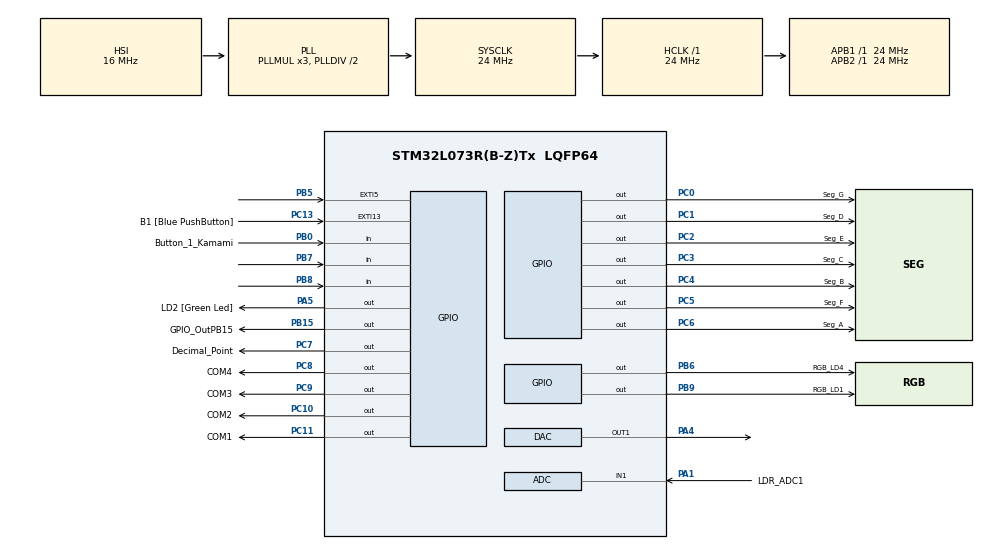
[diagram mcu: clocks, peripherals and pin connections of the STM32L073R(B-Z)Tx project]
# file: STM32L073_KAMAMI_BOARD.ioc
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Mcu.Family=STM32L0
Mcu.Name=STM32L073R(B-Z)Tx
Mcu.Package=LQFP64
NVIC.EXTI4_15_IRQn=true\:0\:0\:false\:false\:true\:true\:true\:true
NVIC.TIM2_IRQn=true\:0\:0\:false\:false\:true\:true\:true\:true
PA1.GPIO_Label=LDR_ADC1
PA1.Mode=IN1
PA1.Signal=ADC_IN1
PA13.GPIO_Label=TMS
PA13.Mode=Serial_Wire
PA13.Signal=SYS_SWDIO
PA14.GPIO_Label=TCK
PA14.Mode=Serial_Wire
PA14.Signal=SYS_SWCLK
PA4.Signal=COMP_DAC1_group
PA5.GPIO_Label=LD2 [Green Led]
PA5.Signal=GPIO_Output
PB0.GPIO_Label=Button_1_Kamami
PB0.GPIO_PuPd=GPIO_PULLUP
PB0.Signal=GPIO_Input
PB15.GPIO_Label=GPIO_OutPB15
PB15.Signal=GPIO_Output
PB5.GPIO_PuPd=GPIO_PULLUP
PB5.Signal=GPXTI5
PB6.GPIO_Label=RGB_LD4
PB6.Signal=GPIO_Output
PB7.Signal=GPIO_Input
PB8.Signal=GPIO_Input
PB9.GPIO_Label=RGB_LD1
PB9.Signal=GPIO_Output
PC0.GPIO_Label=Seg_G
PC0.Signal=GPIO_Output
PC1.GPIO_Label=Seg_D
PC1.Signal=GPIO_Output
PC10.GPIO_Label=COM2
PC10.Signal=GPIO_Output
PC11.GPIO_Label=COM1
PC11.Signal=GPIO_Output
PC13.GPIO_Label=B1 [Blue PushButton]
PC13.GPIO_ModeDefaultEXTI=GPIO_MODE_IT_FALLING
PC13.Signal=GPXTI13
PC14-OSC32_IN.Mode=LSE-External-Oscillator
PC14-OSC32_IN.Signal=RCC_OSC32_IN
PC15-OSC32_OUT.Mode=LSE-External-Oscillator
PC15-OSC32_OUT.Signal=RCC_OSC32_OUT
PC2.GPIO_Label=Seg_E
PC2.Signal=GPIO_Output
PC3.GPIO_Label=Seg_C
PC3.Signal=GPIO_Output
PC4.GPIO_Label=Seg_B
PC4.Signal=GPIO_Output
PC5.GPIO_Label=Seg_F
PC5.Signal=GPIO_Output
PC6.GPIO_Label=Seg_A
PC6.Signal=GPIO_Output
PC7.GPIO_Label=Decimal_Point
PC7.Signal=GPIO_Output
PC8.GPIO_Label=COM4
PC8.Signal=GPIO_Output
PC9.GPIO_Label=COM3
PC9.Signal=GPIO_Output
PH0-OSC_IN.GPIO_Label=MCO
PH0-OSC_IN.Mode=HSE-External-Clock-Source
PH0-OSC_IN.Signal=RCC_OSC_IN
ProjectManager.HeapSize=0x200
ProjectManager.StackSize=0x400
ProjectManager.TargetToolchain=MDK-ARM V5.32
RCC.AHBFreq_Value=24000000
RCC.APB1Freq_Value=24000000
RCC.APB1TimFreq_Value=24000000
RCC.APB2Freq_Value=24000000
RCC.APB2TimFreq_Value=24000000
RCC.HCLKFreq_Value=24000000
RCC.HSE_VALUE=8000000
RCC.HSI16_VALUE=16000000
RCC.HSI48_VALUE=48000000
RCC.HSI_VALUE=16000000
RCC.MSI_VALUE=2097000
RCC.SYSCLKFreq_VALUE=24000000
RCC.SYSCLKSource=RCC_SYSCLKSOURCE_PLLCLK
RCC.VCOOutputFreq_Value=48000000
SH.COMP_DAC1_group.0=DAC_OUT1,DAC_OUT1
TIM2.AutoReloadPreload=TIM_AUTORELOAD_PRELOAD_ENABLE
TIM2.Period=2400
TIM2.Prescaler=1000
VP_TIM2_VS_ClockSourceINT.Mode=Internal
board=NUCLEO-L073RZ

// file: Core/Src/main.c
/* USER CODE BEGIN Header */
/**
  ******************************************************************************
  * @file           : main.c
  * @brief          : Main program body
  ******************************************************************************
  * @attention
  *
  * Copyright (c) 2022 STMicroelectronics.
  * All rights reserved.
  *
  * This software is licensed under terms that can be found in the LICENSE file
  * in the root directory of this software component.
  * If no LICENSE file comes with this software, it is provided AS-IS.
  *
  ******************************************************************************
  */
/* USER CODE END Header */
#include "main.h"

ADC_HandleTypeDef hadc;

DAC_HandleTypeDef hdac;

TIM_HandleTypeDef htim2;

void SystemClock_Config(void);
static void MX_GPIO_Init(void);
static void MX_ADC_Init(void);
static void MX_DAC_Init(void);
static void MX_TIM2_Init(void);

/* USER CODE BEGIN 0 */
#define Vref 3.3
#define Vstep Vref/4096   // 12 bitu DC
#define Rref 10e3   // atramine varza 10k
uint32_t ADCpa1;
float Vpa1;
float Rldr;

unsigned char bADCReady=1;

#define SIGNAL_STEPS_IN_PERIOD	20  // in samples
#define SIGNAL_MAGNITUDE	4095 // in samples

static volatile int DACValue;
int sample_no=0;

/* TIM2 and TIM6 elapse callback function. Invoked from TIM2_IRQHandler  */
void HAL_TIM_PeriodElapsedCallback(TIM_HandleTypeDef *htim)
{
 if (htim==&htim2)
 {
   DACValue=SIGNAL_MAGNITUDE*sample_no/SIGNAL_STEPS_IN_PERIOD; /* calculate new value */

   HAL_DAC_SetValue(&hdac, DAC_CHANNEL_1, DAC_ALIGN_12B_R, DACValue); /* output DAC */
   HAL_DAC_Start(&hdac, DAC_CHANNEL_1); /* start conversion */

  if (sample_no<SIGNAL_STEPS_IN_PERIOD) /* update DAC sample number */
     sample_no++;
   else
	   sample_no=0;
 }
}
/* USER CODE END 0 */

int main(void)
{

  /* MCU Configuration--------------------------------------------------------*/

  /* Reset of all peripherals, Initializes the Flash interface and the Systick. */
  HAL_Init();

  /* Configure the system clock */
  SystemClock_Config();

  /* Initialize all configured peripherals */
  MX_GPIO_Init();
  MX_ADC_Init();
  MX_DAC_Init();
  MX_TIM2_Init();
  /* USER CODE BEGIN 2 */

 /* ### - 2 - Start calibration ############################################ */
  if (HAL_ADCEx_Calibration_Start(&hadc, ADC_SINGLE_ENDED) != HAL_OK)
  {
    Error_Handler();
  }

	if(HAL_TIM_Base_Start_IT(&htim2) != HAL_OK) // laikamcio aktyvavimas
  {
    //ErrorHandler();
  }

  /* USER CODE END 2 */

  /* Infinite loop */
  /* USER CODE BEGIN WHILE */
  while (1)
  {

	if (bADCReady==1)
  {
	/*##- paleidziame ADC keitima #######################################*/
  if (HAL_ADC_Start(&hadc) != HAL_OK)
  {
    /* Start Conversation Error */
    Error_Handler();
  } else
	  bADCReady=0; // vyksta keitimas, naujo paleisti negalima
  }

	HAL_ADC_PollForConversion(&hadc, 10);

  /* Check if the continous conversion of regular channel is finished */
  if ((HAL_ADC_GetState(&hadc) & HAL_ADC_STATE_REG_EOC) == HAL_ADC_STATE_REG_EOC)
    {
      /*##-6- Get the converted value of regular channel  ########################*/
      ADCpa1 = HAL_ADC_GetValue(&hadc);// nuskaitome ADC keitimo rezultata
			Vpa1=ADCpa1*Vstep; // itampos skaiciavimas
			Rldr=Vpa1*Rref/(Vref-Vpa1);  // LDR varza
	    bADCReady=1; // galima paleisti nauja keitima
    }

    /* USER CODE END WHILE */

  }
}

void SystemClock_Config(void)
{
  RCC_OscInitTypeDef RCC_OscInitStruct = {0};
  RCC_ClkInitTypeDef RCC_ClkInitStruct = {0};

  /** Configure the main internal regulator output voltage
  */
  __HAL_PWR_VOLTAGESCALING_CONFIG(PWR_REGULATOR_VOLTAGE_SCALE1);

  /** Initializes the RCC Oscillators according to the specified parameters
  * in the RCC_OscInitTypeDef structure.
  */
  RCC_OscInitStruct.OscillatorType = RCC_OSCILLATORTYPE_HSI;
  RCC_OscInitStruct.HSIState = RCC_HSI_ON;
  RCC_OscInitStruct.HSICalibrationValue = RCC_HSICALIBRATION_DEFAULT;
  RCC_OscInitStruct.PLL.PLLState = RCC_PLL_ON;
  RCC_OscInitStruct.PLL.PLLSource = RCC_PLLSOURCE_HSI;
  RCC_OscInitStruct.PLL.PLLMUL = RCC_PLLMUL_3;
  RCC_OscInitStruct.PLL.PLLDIV = RCC_PLLDIV_2;
  if (HAL_RCC_OscConfig(&RCC_OscInitStruct) != HAL_OK)
  {
    Error_Handler();
  }

  /** Initializes the CPU, AHB and APB buses clocks
  */
  RCC_ClkInitStruct.ClockType = RCC_CLOCKTYPE_HCLK|RCC_CLOCKTYPE_SYSCLK
                              |RCC_CLOCKTYPE_PCLK1|RCC_CLOCKTYPE_PCLK2;
  RCC_ClkInitStruct.SYSCLKSource = RCC_SYSCLKSOURCE_PLLCLK;
  RCC_ClkInitStruct.AHBCLKDivider = RCC_SYSCLK_DIV1;
  RCC_ClkInitStruct.APB1CLKDivider = RCC_HCLK_DIV1;
  RCC_ClkInitStruct.APB2CLKDivider = RCC_HCLK_DIV1;

  if (HAL_RCC_ClockConfig(&RCC_ClkInitStruct, FLASH_LATENCY_1) != HAL_OK)
  {
    Error_Handler();
  }
}

static void MX_ADC_Init(void)
{

  ADC_ChannelConfTypeDef sConfig = {0};

  /** Configure the global features of the ADC (Clock, Resolution, Data Alignment and number of conversion)
  */
  hadc.Instance = ADC1;
  hadc.Init.OversamplingMode = DISABLE;
  hadc.Init.ClockPrescaler = ADC_CLOCK_SYNC_PCLK_DIV2;
  hadc.Init.Resolution = ADC_RESOLUTION_12B;
  hadc.Init.SamplingTime = ADC_SAMPLETIME_1CYCLE_5;
  hadc.Init.ScanConvMode = ADC_SCAN_DIRECTION_FORWARD;
  hadc.Init.DataAlign = ADC_DATAALIGN_RIGHT;
  hadc.Init.ContinuousConvMode = DISABLE;
  hadc.Init.DiscontinuousConvMode = DISABLE;
  hadc.Init.ExternalTrigConvEdge = ADC_EXTERNALTRIGCONVEDGE_NONE;
  hadc.Init.ExternalTrigConv = ADC_SOFTWARE_START;
  hadc.Init.DMAContinuousRequests = DISABLE;
  hadc.Init.EOCSelection = ADC_EOC_SINGLE_CONV;
  hadc.Init.Overrun = ADC_OVR_DATA_PRESERVED;
  hadc.Init.LowPowerAutoWait = DISABLE;
  hadc.Init.LowPowerFrequencyMode = DISABLE;
  hadc.Init.LowPowerAutoPowerOff = DISABLE;
  if (HAL_ADC_Init(&hadc) != HAL_OK)
  {
    Error_Handler();
  }

  /** Configure for the selected ADC regular channel to be converted.
  */
  sConfig.Channel = ADC_CHANNEL_1;
  sConfig.Rank = ADC_RANK_CHANNEL_NUMBER;
  if (HAL_ADC_ConfigChannel(&hadc, &sConfig) != HAL_OK)
  {
    Error_Handler();
  }

}

static void MX_DAC_Init(void)
{

  DAC_ChannelConfTypeDef sConfig = {0};

  /** DAC Initialization
  */
  hdac.Instance = DAC;
  if (HAL_DAC_Init(&hdac) != HAL_OK)
  {
    Error_Handler();
  }

  /** DAC channel OUT1 config
  */
  sConfig.DAC_Trigger = DAC_TRIGGER_NONE;
  sConfig.DAC_OutputBuffer = DAC_OUTPUTBUFFER_ENABLE;
  if (HAL_DAC_ConfigChannel(&hdac, &sConfig, DAC_CHANNEL_1) != HAL_OK)
  {
    Error_Handler();
  }

}

static void MX_TIM2_Init(void)
{

  TIM_ClockConfigTypeDef sClockSourceConfig = {0};
  TIM_MasterConfigTypeDef sMasterConfig = {0};

  htim2.Instance = TIM2;
  htim2.Init.Prescaler = 1000;
  htim2.Init.CounterMode = TIM_COUNTERMODE_UP;
  htim2.Init.Period = 2400;
  htim2.Init.ClockDivision = TIM_CLOCKDIVISION_DIV1;
  htim2.Init.AutoReloadPreload = TIM_AUTORELOAD_PRELOAD_ENABLE;
  if (HAL_TIM_Base_Init(&htim2) != HAL_OK)
  {
    Error_Handler();
  }
  sClockSourceConfig.ClockSource = TIM_CLOCKSOURCE_INTERNAL;
  if (HAL_TIM_ConfigClockSource(&htim2, &sClockSourceConfig) != HAL_OK)
  {
    Error_Handler();
  }
  sMasterConfig.MasterOutputTrigger = TIM_TRGO_RESET;
  sMasterConfig.MasterSlaveMode = TIM_MASTERSLAVEMODE_DISABLE;
  if (HAL_TIMEx_MasterConfigSynchronization(&htim2, &sMasterConfig) != HAL_OK)
  {
    Error_Handler();
  }

}

static void MX_GPIO_Init(void)
{
  GPIO_InitTypeDef GPIO_InitStruct = {0};

  /* GPIO Ports Clock Enable */
  __HAL_RCC_GPIOC_CLK_ENABLE();
  __HAL_RCC_GPIOH_CLK_ENABLE();
  __HAL_RCC_GPIOA_CLK_ENABLE();
  __HAL_RCC_GPIOB_CLK_ENABLE();

  /*Configure GPIO pin Output Level */
  HAL_GPIO_WritePin(GPIOC, Seg_G_Pin|Seg_D_Pin|Seg_E_Pin|Seg_C_Pin
                          |Seg_B_Pin|Seg_F_Pin|Seg_A_Pin|Decimal_Point_Pin
                          |COM4_Pin|COM3_Pin|COM2_Pin|COM1_Pin, GPIO_PIN_RESET);

  /*Configure GPIO pin Output Level */
  HAL_GPIO_WritePin(LD2_GPIO_Port, LD2_Pin, GPIO_PIN_RESET);

  /*Configure GPIO pin Output Level */
  HAL_GPIO_WritePin(GPIOB, GPIO_OutPB15_Pin|RGB_LD4_Pin|RGB_LD1_Pin, GPIO_PIN_RESET);

  /*Configure GPIO pin : B1_Pin */
  GPIO_InitStruct.Pin = B1_Pin;
  GPIO_InitStruct.Mode = GPIO_MODE_IT_FALLING;
  GPIO_InitStruct.Pull = GPIO_NOPULL;
  HAL_GPIO_Init(B1_GPIO_Port, &GPIO_InitStruct);

  /*Configure GPIO pins : Seg_G_Pin Seg_D_Pin Seg_E_Pin Seg_C_Pin
                           Seg_B_Pin Seg_F_Pin Seg_A_Pin Decimal_Point_Pin
                           COM4_Pin COM3_Pin COM2_Pin COM1_Pin */
  GPIO_InitStruct.Pin = Seg_G_Pin|Seg_D_Pin|Seg_E_Pin|Seg_C_Pin
                          |Seg_B_Pin|Seg_F_Pin|Seg_A_Pin|Decimal_Point_Pin
                          |COM4_Pin|COM3_Pin|COM2_Pin|COM1_Pin;
  GPIO_InitStruct.Mode = GPIO_MODE_OUTPUT_PP;
  GPIO_InitStruct.Pull = GPIO_NOPULL;
  GPIO_InitStruct.Speed = GPIO_SPEED_FREQ_LOW;
  HAL_GPIO_Init(GPIOC, &GPIO_InitStruct);

  /*Configure GPIO pin : LD2_Pin */
  GPIO_InitStruct.Pin = LD2_Pin;
  GPIO_InitStruct.Mode = GPIO_MODE_OUTPUT_PP;
  GPIO_InitStruct.Pull = GPIO_NOPULL;
  GPIO_InitStruct.Speed = GPIO_SPEED_FREQ_LOW;
  HAL_GPIO_Init(LD2_GPIO_Port, &GPIO_InitStruct);

  /*Configure GPIO pin : Button_1_Kamami_Pin */
  GPIO_InitStruct.Pin = Button_1_Kamami_Pin;
  GPIO_InitStruct.Mode = GPIO_MODE_INPUT;
  GPIO_InitStruct.Pull = GPIO_PULLUP;
  HAL_GPIO_Init(Button_1_Kamami_GPIO_Port, &GPIO_InitStruct);

  /*Configure GPIO pins : GPIO_OutPB15_Pin RGB_LD4_Pin RGB_LD1_Pin */
  GPIO_InitStruct.Pin = GPIO_OutPB15_Pin|RGB_LD4_Pin|RGB_LD1_Pin;
  GPIO_InitStruct.Mode = GPIO_MODE_OUTPUT_PP;
  GPIO_InitStruct.Pull = GPIO_NOPULL;
  GPIO_InitStruct.Speed = GPIO_SPEED_FREQ_LOW;
  HAL_GPIO_Init(GPIOB, &GPIO_InitStruct);

  /*Configure GPIO pin : PB5 */
  GPIO_InitStruct.Pin = GPIO_PIN_5;
  GPIO_InitStruct.Mode = GPIO_MODE_IT_RISING;
  GPIO_InitStruct.Pull = GPIO_PULLUP;
  HAL_GPIO_Init(GPIOB, &GPIO_InitStruct);

  /*Configure GPIO pins : PB7 PB8 */
  GPIO_InitStruct.Pin = GPIO_PIN_7|GPIO_PIN_8;
  GPIO_InitStruct.Mode = GPIO_MODE_INPUT;
  GPIO_InitStruct.Pull = GPIO_NOPULL;
  HAL_GPIO_Init(GPIOB, &GPIO_InitStruct);

  /* EXTI interrupt init*/
  HAL_NVIC_SetPriority(EXTI4_15_IRQn, 0, 0);
  HAL_NVIC_EnableIRQ(EXTI4_15_IRQn);

}

void Error_Handler(void)
{
  __disable_irq();
  while (1)
  {
  }
}
